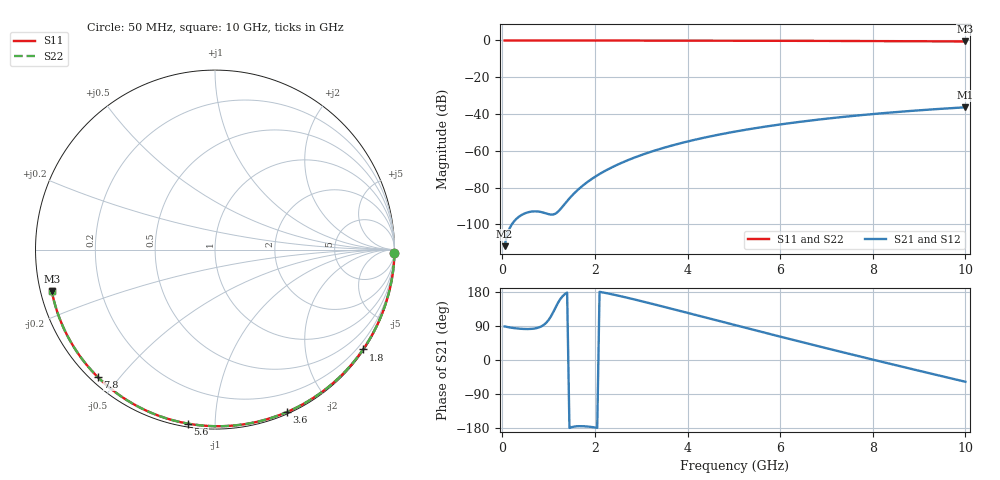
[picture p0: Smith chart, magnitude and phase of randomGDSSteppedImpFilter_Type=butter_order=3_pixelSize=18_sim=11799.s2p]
! freq	dB(S11)	phase(S11)	dB(S12)	phase(S12)
!  dB(S21)	phase(S21)	dB(S22)	phase(S22)
!S-par simulation data
#  GHz  S  DB  R 50
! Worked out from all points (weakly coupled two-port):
!   200 points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, 50 MHz to 10 GHz, reference 50 ohm
!   highest |S21| = -36.37 dB at 10 GHz (marker M1); lowest = -111.9 dB at 50 MHz (marker M2)
!   lowest |S11| = -0.6 dB at 10 GHz (marker M3), VSWR 31.48, Z = 1.61 - j6.22 ohm
!   |S11| at or under -10 dB: nowhere
!   |S22| runs from -0.6 to 0.0 dB; largest |S21 - S12| = 0
!   S11 on the Smith chart (normalised r, x): 50 MHz: open; 1.8 GHz: 0.03, -3.27; 3.6 GHz: 0.02, -1.54; 5.6 GHz: 0.02, -0.86; 7.8 GHz: 0.02, -0.44; 10 GHz: 0.03, -0.12
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0.05  -0.00 -1.0  -111.90 88.6  -111.90 88.6  -0.00 -1.0
0.45  -0.01 -8.6  -94.49 82.0  -94.49 82.0  -0.01 -8.6
0.85  -0.02 -16.2  -93.38 89.1  -93.38 89.1  -0.02 -16.2
1.65  -0.04 -31.2  -80.84 -174.6  -80.84 -174.6  -0.04 -31.2
1.7  -0.04 -32.1  -79.75 -174.6  -79.75 -174.6  -0.04 -32.1
1.75  -0.04 -33.1  -78.71 -174.7  -78.71 -174.7  -0.04 -33.1
1.8  -0.04 -34.0  -77.72 -175.1  -77.72 -175.1  -0.04 -34.0
2.1  -0.05 -39.5  -72.66 179.9  -72.66 179.9  -0.05 -39.5
2.3  -0.06 -43.1  -69.87 175.2  -69.87 175.2  -0.06 -43.1
2.5  -0.06 -46.7  -67.43 169.9  -67.43 169.9  -0.06 -46.7
2.9  -0.07 -53.9  -63.27 158.4  -63.27 158.4  -0.07 -53.9
3.4  -0.08 -62.6  -59.05 143.2  -59.05 143.2  -0.08 -62.6
3.6  -0.09 -66.1  -57.59 136.9  -57.59 136.9  -0.09 -66.1
4.3  -0.11 -77.9  -53.21 114.9  -53.21 114.9  -0.11 -77.9
5.05  -0.14 -90.2  -49.47 91.3  -49.47 91.3  -0.14 -90.2
5.6  -0.16 -98.9  -47.17 74.1  -47.17 74.1  -0.16 -98.9
6.15  -0.19 -107.5  -45.18 57.1  -45.18 57.1  -0.19 -107.5
6.7  -0.23 -115.9  -43.42 40.2  -43.42 40.2  -0.23 -115.9
7.8  -0.31 -132.5  -40.50 7.0  -40.50 7.0  -0.31 -132.5
8.35  -0.36 -140.7  -39.28 -9.3  -39.28 -9.3  -0.36 -140.7
9.2  -0.45 -153.5  -37.64 -34.3  -37.64 -34.3  -0.45 -153.5
10  -0.55 -165.8  -36.37 -57.4  -36.37 -57.4  -0.55 -165.8
